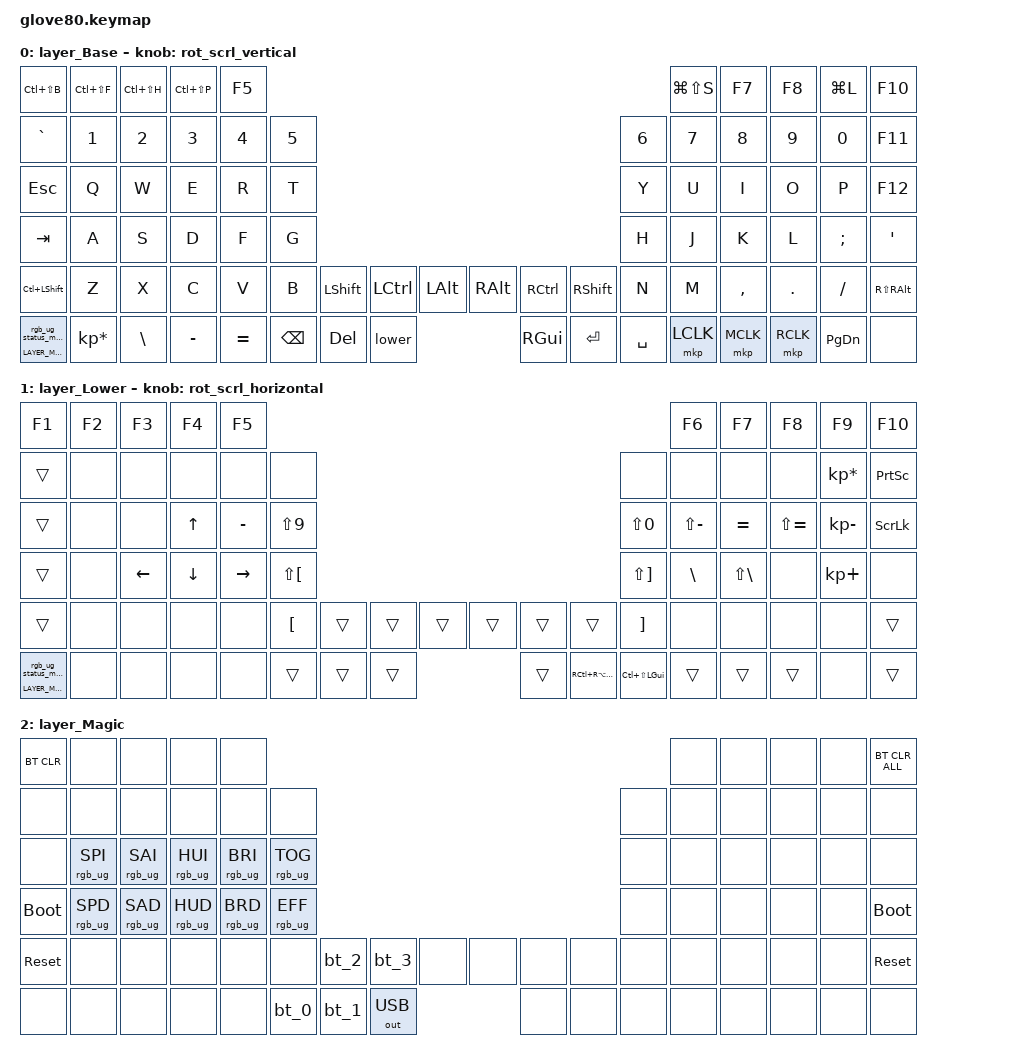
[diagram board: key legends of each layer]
/*
 * Copyright (c) 2020 The ZMK Contributors
 * Copyright (c) 2025 Innaworks Development Limited, trading as MoErgo
 *
 * SPDX-License-Identifier: MIT
 */


/* THIS FILE WAS GENERATED BY GLOVE80 LAYOUT EDITOR
 *
 * This file was generated automatically. You may or may not want to
 * edit it directly.
 */

#include <behaviors.dtsi>
/* Include all behavior includes needed */
#include <dt-bindings/zmk/outputs.h>
#include <dt-bindings/zmk/keys.h>
#include <dt-bindings/zmk/bt.h>
#include <dt-bindings/zmk/rgb.h>

/* On demand includes */
#include <dt-bindings/zmk/pointing.h>

/* Helper Macros, based on https://github.com/urob/zmk-helpers/ */

#pragma once

#define ZMK_HELPER_STRINGIFY(x) #x

// Preprocessor mechanism to overload macros, cf. https://stackoverflow.com/a/27051616/6114651
#define VARGS_(_10, _9, _8, _7, _6, _5, _4, _3, _2, _1, N, ...) N
#define VARGS(...) VARGS_(__VA_ARGS__, 10, 9, 8, 7, 6, 5, 4, 3, 2, 1, 0)
#define CONCAT_(a, b) a##b
#define CONCAT(a, b) CONCAT_(a, b)

#define ZMK_BEHAVIOR_CORE_tap_dance  \
    compatible = "zmk,behavior-tap-dance"; \
    #binding-cells = <0>

#define ZMK_BEHAVIOR(name, type, ...) \
    name: name { \
        ZMK_BEHAVIOR_CORE_ ## type; \
        __VA_ARGS__ \
    };

#define ZMK_TAP_DANCE(name, ...) \
    ZMK_BEHAVIOR(name, tap_dance, __VA_ARGS__)

#define ZMK_TD_LAYER(name, layer) \
    ZMK_TAP_DANCE(name, \
        tapping-term-ms = <200>; \
        bindings = <&mo layer>, <&to layer>; \
)

/* Automatically generated layer name #define */
#define LAYER_Base 0
#define LAYER_Lower 1
#define LAYER_Magic 2

/* To deal with the situation where there is no Lower layer, to keep &lower happy */
#ifndef LAYER_Lower
#define LAYER_Lower 0
#endif

/* Custom Device-tree */


/* Input Listeners */


/* System behavior and Macros */
/ {
    behaviors {
        ZMK_TD_LAYER(lower, LAYER_Lower)
    };
};

/ {
    macros {
        rgb_ug_status_macro: rgb_ug_status_macro {
            label = "RGB_UG_STATUS";
            compatible = "zmk,behavior-macro";
            #binding-cells = <0>;
            bindings
                = <&rgb_ug RGB_STATUS>;
        };
    };
};


/ {
#ifdef BT_DISC_CMD
    behaviors {
        bt_0: bt_0 {
            compatible = "zmk,behavior-tap-dance";
            label = "BT_0";
            #binding-cells = <0>;
            tapping-term-ms = <200>;
            bindings = <&bt_select_0>, <&bt BT_DISC 0>;
        };
        bt_1: bt_1 {
            compatible = "zmk,behavior-tap-dance";
            label = "BT_1";
            #binding-cells = <0>;
            tapping-term-ms = <200>;
            bindings = <&bt_select_1>, <&bt BT_DISC 1>;
        };
        bt_2: bt_2 {
            compatible = "zmk,behavior-tap-dance";
            label = "BT_2";
            #binding-cells = <0>;
            tapping-term-ms = <200>;
            bindings = <&bt_select_2>, <&bt BT_DISC 2>;
        };
        bt_3: bt_3 {
            compatible = "zmk,behavior-tap-dance";
            label = "BT_3";
            #binding-cells = <0>;
            tapping-term-ms = <200>;
            bindings = <&bt_select_3>, <&bt BT_DISC 3>;
        };
    };
    macros {
        bt_select_0: bt_select_0 {
            label = "BT_SELECT_0";
            compatible = "zmk,behavior-macro";
            #binding-cells = <0>;
            bindings
                = <&out OUT_BLE>,
                  <&bt BT_SEL 0>;
        };
        bt_select_1: bt_select_1 {
            label = "BT_SELECT_1";
            compatible = "zmk,behavior-macro";
            #binding-cells = <0>;
            bindings
                = <&out OUT_BLE>,
                  <&bt BT_SEL 1>;
        };
        bt_select_2: bt_select_2 {
            label = "BT_SELECT_2";
            compatible = "zmk,behavior-macro";
            #binding-cells = <0>;
            bindings
                = <&out OUT_BLE>,
                  <&bt BT_SEL 2>;
        };
        bt_select_3: bt_select_3 {
            label = "BT_SELECT_3";
            compatible = "zmk,behavior-macro";
            #binding-cells = <0>;
            bindings
                = <&out OUT_BLE>,
                  <&bt BT_SEL 3>;
        };
    };
#else
    macros {
        bt_0: bt_0 {
            label = "BT_0";
            compatible = "zmk,behavior-macro";
            #binding-cells = <0>;
            bindings
                = <&out OUT_BLE>,
                  <&bt BT_SEL 0>;
        };
        bt_1: bt_1 {
            label = "BT_1";
            compatible = "zmk,behavior-macro";
            #binding-cells = <0>;
            bindings
                = <&out OUT_BLE>,
                  <&bt BT_SEL 1>;
        };
        bt_2: bt_2 {
            label = "BT_2";
            compatible = "zmk,behavior-macro";
            #binding-cells = <0>;
            bindings
                = <&out OUT_BLE>,
                  <&bt BT_SEL 2>;
        };
        bt_3: bt_3 {
            label = "BT_3";
            compatible = "zmk,behavior-macro";
            #binding-cells = <0>;
            bindings
                = <&out OUT_BLE>,
                  <&bt BT_SEL 3>;
        };
    };
#endif
};

#define ZMK_POINTING_DEFAULT_SCRL_VAL 100   //default value is 10, too small for OS to pick up even at 20mS tap

/ {
    behaviors {
        magic: magic {
            compatible = "zmk,behavior-hold-tap";
            label = "MAGIC_HOLD_TAP";
            #binding-cells = <2>;
            flavor = "tap-preferred";
            tapping-term-ms = <200>;
            bindings = <&mo>, <&rgb_ug_status_macro>;
        };

        /* rotary encoder behavior as vertical scroller */
        rot_scrl_vertical: behavior_scroll_vertical {
            compatible = "zmk,behavior-sensor-rotate";
            #sensor-binding-cells = <0>; 
            bindings = <&msc SCRL_UP>, <&msc SCRL_DOWN>;
            tap-ms = <20>;
        };

        /* rotary encoder behavior as a horizontal scroller */
        rot_scrl_horizontal: behavior_scroll_horizontal {
            compatible = "zmk,behavior-sensor-rotate";
            #sensor-binding-cells = <0>; 
            bindings = <&msc SCRL_LEFT>, <&msc SCRL_RIGHT>;
            tap-ms = <20>;
        };
    };
};

/* #define for key positions */
#define POS_LH_T1 52
#define POS_LH_T2 53
#define POS_LH_T3 54
#define POS_LH_T4 69
#define POS_LH_T5 70
#define POS_LH_T6 71
#define POS_LH_C1R2 15
#define POS_LH_C1R3 27
#define POS_LH_C1R4 39
#define POS_LH_C1R5 51
#define POS_LH_C2R1 4
#define POS_LH_C2R2 14
#define POS_LH_C2R3 26
#define POS_LH_C2R4 38
#define POS_LH_C2R5 50
#define POS_LH_C2R6 68
#define POS_LH_C3R1 3
#define POS_LH_C3R2 13
#define POS_LH_C3R3 25
#define POS_LH_C3R4 37
#define POS_LH_C3R5 49
#define POS_LH_C3R6 67
#define POS_LH_C4R1 2
#define POS_LH_C4R2 12
#define POS_LH_C4R3 24
#define POS_LH_C4R4 36
#define POS_LH_C4R5 48
#define POS_LH_C4R6 66
#define POS_LH_C5R1 1
#define POS_LH_C5R2 11
#define POS_LH_C5R3 23
#define POS_LH_C5R4 35
#define POS_LH_C5R5 47
#define POS_LH_C5R6 65
#define POS_LH_C6R1 0
#define POS_LH_C6R2 10
#define POS_LH_C6R3 22
#define POS_LH_C6R4 34
#define POS_LH_C6R5 46
#define POS_LH_C6R6 64
#define POS_RH_T1 57
#define POS_RH_T2 56
#define POS_RH_T3 55
#define POS_RH_T4 74
#define POS_RH_T5 73
#define POS_RH_T6 72
#define POS_RH_C1R2 16
#define POS_RH_C1R3 28
#define POS_RH_C1R4 40
#define POS_RH_C1R5 58
#define POS_RH_C2R1 5
#define POS_RH_C2R2 17
#define POS_RH_C2R3 29
#define POS_RH_C2R4 41
#define POS_RH_C2R5 59
#define POS_RH_C2R6 75
#define POS_RH_C3R1 6
#define POS_RH_C3R2 18
#define POS_RH_C3R3 30
#define POS_RH_C3R4 42
#define POS_RH_C3R5 60
#define POS_RH_C3R6 76
#define POS_RH_C4R1 7
#define POS_RH_C4R2 19
#define POS_RH_C4R3 31
#define POS_RH_C4R4 43
#define POS_RH_C4R5 61
#define POS_RH_C4R6 77
#define POS_RH_C5R1 8
#define POS_RH_C5R2 20
#define POS_RH_C5R3 32
#define POS_RH_C5R4 44
#define POS_RH_C5R5 62
#define POS_RH_C5R6 78
#define POS_RH_C6R1 9
#define POS_RH_C6R2 21
#define POS_RH_C6R3 33
#define POS_RH_C6R4 45
#define POS_RH_C6R5 63
#define POS_RH_C6R6 79

/* Custom Defined Behaviors */
/ {

};

/* Generated input processors */


/* Automatically generated macro definitions */
/ {
    macros {



    };
};

/* Automatically generated behavior definitions */
/ {
    behaviors {


    };
};

/* Automatically generated combos definitions */


/* Automatically generated keymap */
/ {
    keymap {
        compatible = "zmk,keymap";


        layer_Base {
            bindings = <
        &kp LC(LS(B))    &kp LC(LS(F))  &kp LC(LS(H))  &kp LC(LS(P))     &kp F5                                                                                  &kp LG(LS(S))     &kp F7     &kp F8  &kp LG(L)       &kp F10
            &kp GRAVE           &kp N1         &kp N2         &kp N3     &kp N4  &kp N5                                                                  &kp N6         &kp N7     &kp N8     &kp N9     &kp N0       &kp F11
              &kp ESC            &kp Q          &kp W          &kp E      &kp R   &kp T                                                                   &kp Y          &kp U      &kp I      &kp O      &kp P       &kp F12
              &kp TAB            &kp A          &kp S          &kp D      &kp F   &kp G                                                                   &kp H          &kp J      &kp K      &kp L   &kp SEMI       &kp SQT
        &kp LC(LSHFT)            &kp Z          &kp X          &kp C      &kp V   &kp B  &kp LSHFT  &kp LCTRL  &kp LALT  &kp RALT  &kp RCTRL  &kp RSHFT   &kp N          &kp M  &kp COMMA    &kp DOT   &kp FSLH  &kp RS(RALT)
 &magic LAYER_Magic 0  &kp KP_MULTIPLY       &kp BSLH      &kp MINUS  &kp EQUAL           &kp BSPC    &kp DEL    &lower  &kp RGUI    &kp RET  &kp SPACE              &mkp LCLK  &mkp MCLK  &mkp RCLK  &kp PG_DN         &none
            >;
            sensor-bindings = <&rot_scrl_vertical>;
        };

        layer_Lower {
            bindings = <
               &kp F1  &kp F2          &kp F3          &kp F4           &kp F5                                                                                                        &kp F6        &kp F7         &kp F8           &kp F9        &kp F10
               &trans   &none           &none           &none            &none         &none                                                                            &none          &none         &none          &none  &kp KP_MULTIPLY  &kp PRINTSCREEN
               &trans   &none           &none    &kp UP_ARROW        &kp MINUS    &kp LS(N9)                                                                       &kp LS(N0)  &kp LS(MINUS)     &kp EQUAL  &kp LS(EQUAL)     &kp KP_MINUS   &kp SCROLLLOCK
               &trans   &none  &kp LEFT_ARROW  &kp DOWN_ARROW  &kp RIGHT_ARROW  &kp LS(LBKT)                                                                     &kp LS(RBKT)       &kp BSLH  &kp LS(BSLH)          &none      &kp KP_PLUS            &none
               &trans   &none           &none           &none            &none      &kp LBKT  &trans  &trans  &trans  &trans           &trans            &trans      &kp RBKT          &none         &none          &none            &none           &trans
 &magic LAYER_Magic 0   &none           &none           &none            &none                &trans  &trans  &trans  &trans  &kp RC(RA(DEL))  &kp LC(LS(LGUI))                       &trans        &trans         &trans            &none           &trans
            >;
            sensor-bindings = <&rot_scrl_horizontal>;
        };

        layer_Magic {
            bindings = <
  &bt BT_CLR            &none            &none            &none            &none                                                                                  &none   &none   &none   &none  &bt BT_CLR_ALL
       &none            &none            &none            &none            &none            &none                                                         &none   &none   &none   &none   &none           &none
       &none  &rgb_ug RGB_SPI  &rgb_ug RGB_SAI  &rgb_ug RGB_HUI  &rgb_ug RGB_BRI  &rgb_ug RGB_TOG                                                         &none   &none   &none   &none   &none           &none
 &bootloader  &rgb_ug RGB_SPD  &rgb_ug RGB_SAD  &rgb_ug RGB_HUD  &rgb_ug RGB_BRD  &rgb_ug RGB_EFF                                                         &none   &none   &none   &none   &none     &bootloader
  &sys_reset            &none            &none            &none            &none            &none   &bt_2   &bt_3         &none   &none   &none   &none   &none   &none   &none   &none   &none      &sys_reset
       &none            &none            &none            &none            &none                    &bt_0   &bt_1  &out OUT_USB   &none   &none   &none           &none   &none   &none   &none           &none
            >;
        };

    };
};
